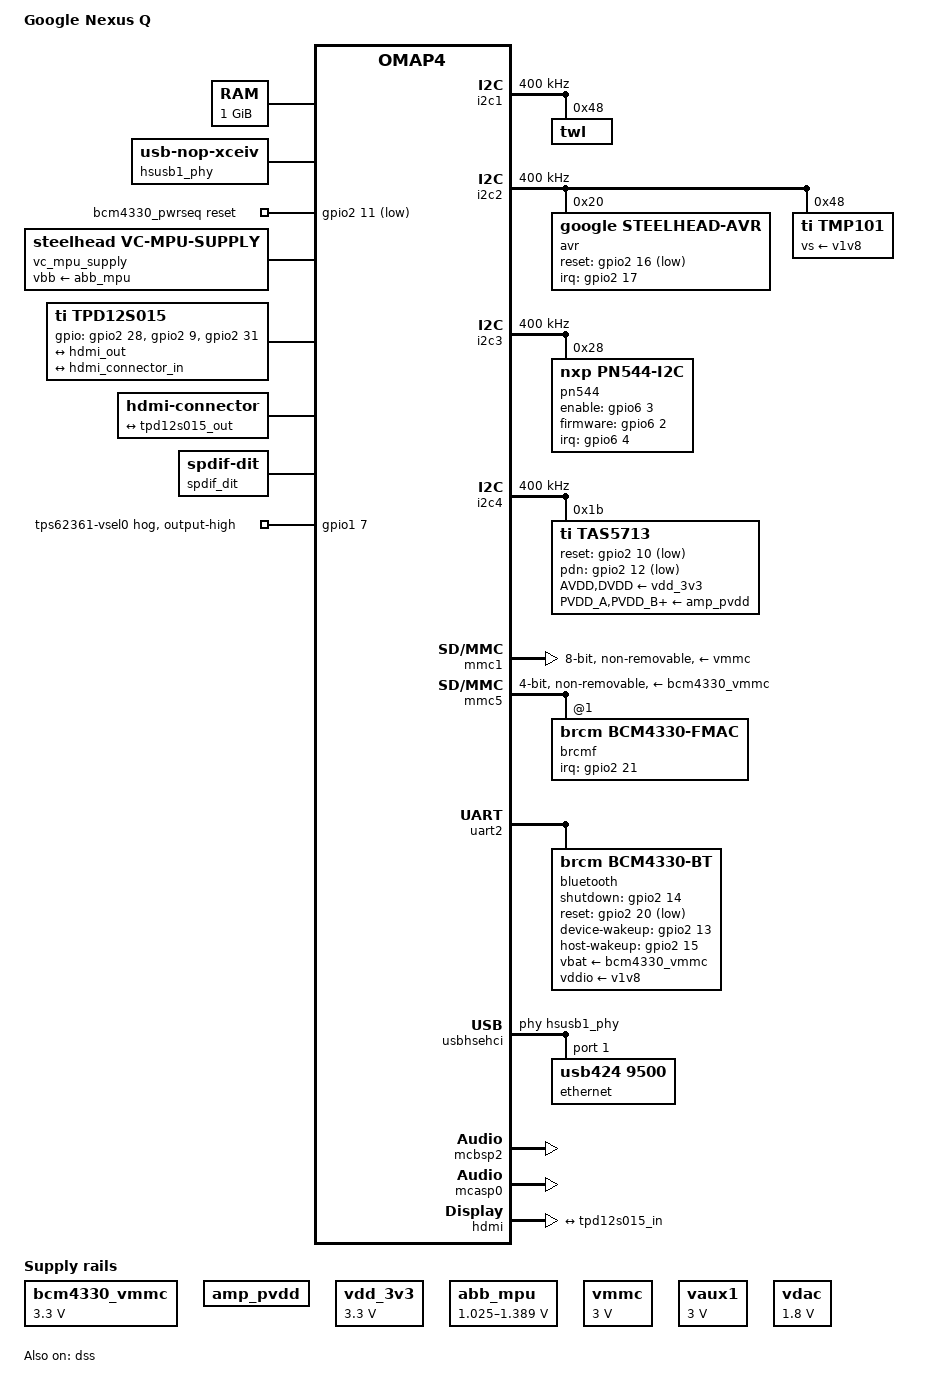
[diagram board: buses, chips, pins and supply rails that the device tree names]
// SPDX-License-Identifier: GPL-2.0-only
/*
 * Device Tree Source for Google Nexus Q (steelhead)
 *
 * Copyright (C) 2024-2025 Nexus Q Reloaded Project
 *
 * Based on omap4-panda-common.dtsi and original board-steelhead.c
 * from the CyanogenMod android_kernel_google_steelhead repository.
 *
 * Hardware:
 *   SoC:       TI OMAP4460 (dual Cortex-A9 @ 1.2 GHz)
 *   RAM:       1 GB LPDDR2 (Elpida ECB240ABACN)
 *   Storage:   16 GB eMMC (Samsung KLMAG4FEJA-A002)
 *   WiFi/BT:   Broadcom BCM4330 (SDIO + UART2)
 *   Audio:     TAS5713 25W amp (I2C4 + McBSP2) + HDMI; no codec (the
 *              TWL6040 is unused/unpopulated on steelhead per the stock kernel)
 *   NFC:       NXP PN544 (I2C3)
 *   Ethernet:  SMSC LAN9500A (USB EHCI)
 *   HDMI:      OMAP4 DSS via TPD12S015A (micro-HDMI)
 *   LEDs:      AVR MCU (I2C2) -> LP5523 drivers (32 RGB LEDs)
 *   PMIC:      TWL6030 + TPS62361
 */

/dts-v1/;

#include <dt-bindings/gpio/gpio.h>
#include <dt-bindings/input/input.h>
#include <dt-bindings/interrupt-controller/irq.h>
#include "omap4460.dtsi"
#include "elpida_ecb240abacn.dtsi"
/* omap4-mcpdm.dtsi deliberately NOT included: it enables the McPDM
 * target-module (0x40132000) with a TWL6040 as its pdmclk provider, but
 * steelhead has no TWL6040 at all (see the sound-card note below), so the
 * ti-sysc ext-opt-clock quirk deferred the module forever ("deferred probe
 * pending: (reason unknown)" every boot). Without the include McPDM stays at
 * its upstream disabled default — correct, since McPDM needs the codec. */

/ {
	model = "Google Nexus Q";
	compatible = "google,steelhead", "ti,omap4460", "ti,omap4";

	memory@80000000 {
		device_type = "memory";
		reg = <0x80000000 0x40000000>; /* 1 GB */
	};

	chosen {
		stdout-path = &uart3;
	};

	aliases {
		ethernet = &ethernet;
	};

	/*
	 * HS USB Host PHY on PORT 1 for Ethernet (SMSC USB3320, ULPI).
	 * Modelled as a bare nop-xceiv: the USB3320 is driven directly through
	 * the OMAP EHCI ULPI viewport, and its 38.4 MHz reference clock
	 * (auxclk3), power enable (gpio_1 NENABLE) and reset (gpio_62 NRESET)
	 * are sequenced imperatively by the steelhead ehci-omap bring-up in the
	 * vendor board order (clk -> enable -> reset), NOT by nop-xceiv /
	 * regulator probe order -- which released reset before the refclk was
	 * stable, so the LAN9500A never enumerated (PORTSC CCS stayed 0). The
	 * power rail (was a regulator-fixed "hsusb1_vbus" on gpio_1) and the
	 * PHY clock/reset are therefore owned by &usbhsehci, see below.
	 */
	hsusb1_phy: hsusb1-phy {
		compatible = "usb-nop-xceiv";
		#phy-cells = <0>;
	};

	/* BCM4330 WiFi power sequencing: 32k LPO + WLAN_EN (gpio_43),
	 * mirrors steelhead_wifi_power() in board-steelhead-wifi.c:
	 * clk32k on -> 300 ms settle -> WLAN_EN high -> 200 ms.
	 *
	 * The 32k source is the TWL6030 CLK32KG output (<&twl 0>, CFG_TRANS
	 * 0x8C). Stock's consumer string "clk32kaudio" is MISLEADING: its
	 * board data wires that name to the CLK32KG regulator (id 48,
	 * steelhead_twldata+0x8c), the real CLK32KAUDIO slot is NULL. Our
	 * earlier <&twl 1> (CLK32KAUDIO, 0x8F) gated the WRONG pin, so the
	 * chip's LPO never ran — prime suspect for the flaky WiFi/BT
	 * (stock-parity audit 2026-07-02, steelhead_wifi_power @ 0xc0077884).
	 * clk-settle-delay-ms is our pwrseq-simple extension (patch 0028). */
	bcm4330_pwrseq: bcm4330-pwrseq {
		compatible = "mmc-pwrseq-simple";
		pinctrl-names = "default";
		pinctrl-0 = <&wlan_en_pins>;
		reset-gpios = <&gpio2 11 GPIO_ACTIVE_LOW>; /* gpio_43 WLAN_EN */
		clk-settle-delay-ms = <300>;
		post-power-on-delay-ms = <200>;
		clocks = <&twl 0>; /* TWL6030 CLK32KG */
		clock-names = "ext_clock";
	};

	/* BCM4330 VBAT 3.3V - static rail, WLAN_EN is handled by pwrseq.
	 * 3.3V matters for SDIO OCR negotiation (card advertises 3.2-3.4V). */
	bcm4330_vmmc: bcm4330-vmmc {
		compatible = "regulator-fixed";
		regulator-name = "vbcm4330";
		regulator-min-microvolt = <3300000>;
		regulator-max-microvolt = <3300000>;
		regulator-always-on;
	};

	/* TAS5713 speaker power rail (PVDD_A..D). Hardwired on the board;
	 * voltage NOT asserted here (unmeasured — TAS5713 spec 8-26 V) since
	 * the tas571x driver only enable()s its supplies. */
	amp_pvdd: amp-pvdd {
		compatible = "regulator-fixed";
		regulator-name = "amp_pvdd";
		regulator-always-on;
		regulator-boot-on;
	};

	/* Board 3.3 V rail for the TAS5713 amp AVDD/DVDD (analog + digital). */
	vdd_3v3: vdd-3v3 {
		compatible = "regulator-fixed";
		regulator-name = "vdd_3v3";
		regulator-min-microvolt = <3300000>;
		regulator-max-microvolt = <3300000>;
		regulator-always-on;
	};

	/*
	 * VDD_MPU cpu-supply for cpufreq. The TPS62361 lives on the write-only PRM
	 * VC SR-i2c (no Linux i2c regulator), so this VC-bridge regulator
	 * (steelhead-vc-mpu-regulator.c) translates regulator_set_voltage() into a
	 * scale on the mpu voltage domain via the OMAP voltage layer (VP force-update),
	 * and engages Forward Body Bias via vbb-supply (abb_mpu) at OPP-Nitro. Range
	 * covers OPP50..OPP-Nitro (1025..1380 mV, 350/700/920/1200 MHz).
	 */
	vc_mpu_supply: regulator-vc-mpu {
		compatible = "steelhead,vc-mpu-supply";
		regulator-name = "vdd_mpu";
		regulator-min-microvolt = <1025000>;
		regulator-max-microvolt = <1380000>;
		regulator-boot-on;
		regulator-always-on;
		vbb-supply = <&abb_mpu>;
	};

	/* HDMI level converter: TPD12S015A */
	tpd12s015: encoder0 {
		compatible = "ti,tpd12s015";

		gpios = <&gpio2 28 GPIO_ACTIVE_HIGH>,	/* gpio_60 CT_CP_HPD */
			<&gpio2 9 GPIO_ACTIVE_HIGH>,	/* gpio_41 LS_OE */
			<&gpio2 31 GPIO_ACTIVE_HIGH>;	/* gpio_63 HPD */

		ports {
			#address-cells = <1>;
			#size-cells = <0>;

			port@0 {
				reg = <0>;
				tpd12s015_in: endpoint {
					remote-endpoint = <&hdmi_out>;
				};
			};

			port@1 {
				reg = <1>;
				tpd12s015_out: endpoint {
					remote-endpoint = <&hdmi_connector_in>;
				};
			};
		};
	};

	hdmi0: connector0 {
		compatible = "hdmi-connector";
		label = "hdmi";
		type = "d"; /* micro-HDMI */

		port {
			hdmi_connector_in: endpoint {
				remote-endpoint = <&tpd12s015_out>;
			};
		};
	};

	/* S/PDIF digital audio output (TOSLINK) */
	spdif_dit: spdif-dit {
		compatible = "linux,spdif-dit";
		#sound-dai-cells = <0>;
	};

	/*
	 * NO TWL6040 codec / ABE sound card on steelhead. The earlier
	 * "dead chip on this unit" verdict (2026-06-10, no I2C ACK on 0x4b)
	 * was wrong in kind: the stock 3.0.8 kernel contains ZERO twl6040 /
	 * AUDPWRON code (whole-image string+symbol sweep), the twldata codec
	 * pdata slot is NULL (steelhead_twldata+0x24), and stock's i2c1 board
	 * info registers only the twl6030@0x48 — the chip is simply not used
	 * (and almost certainly not populated) on this board, so the missing
	 * ACK is the stock-correct behaviour. Audit 2026-07-03, evidence in
	 * docs/2026-07-02-stock-parity-voltage-wifi-idle.md. Audio is the
	 * TAS5713 below + HDMI; there is no headset/aux path by design.
	 */

	/* Speaker amp: McBSP2 I2S -> TAS5713 (25 W class-D) */
	sound_tas5713: sound-tas5713 {
		compatible = "simple-audio-card";
		simple-audio-card,name = "NexusQ-Speaker";
		simple-audio-card,format = "i2s";
		simple-audio-card,mclk-fs = <256>;
		simple-audio-card,bitclock-master = <&tas5713_cpu>;
		simple-audio-card,frame-master = <&tas5713_cpu>;

		tas5713_cpu: simple-audio-card,cpu {
			sound-dai = <&mcbsp2>;
		};

		simple-audio-card,codec {
			sound-dai = <&tas5713>;
		};
	};

	/*
	 * Optical S/PDIF out: OMAP4 McASP in DIT (IEC958) mode -> spdif-dit codec.
	 * In DIT mode the McASP generates its own IEC958 framing, so no i2s
	 * format / bit-/frame-master negotiation is needed (unlike the TAS5713
	 * link above); the link just binds the McASP DIT DAI to the DIT codec.
	 * Mirrors stock's omap-mcasp-dai <-> dit-hifi card ("Steelhead SPDIF Card").
	 */
	sound_spdif: sound-spdif {
		compatible = "simple-audio-card";
		simple-audio-card,name = "NexusQ-SPDIF";
		/*
		 * The McASP in DIT mode generates the IEC958 framing itself, but
		 * simple-audio-card still calls snd_soc_dai_set_fmt() on the cpu DAI.
		 * davinci_mcasp_set_dai_fmt() returns -EINVAL (-22, seen at v1.6.13
		 * probe) when the SND_SOC_DAIFMT_FORMAT field is 0 (its default: case).
		 * Give it a valid format ("i2s") and make the McASP the bit+frame
		 * master — DIT drives its own TX clock from the ABE McASP fck, there is
		 * no external codec clock (spdif-dit is a dummy sink).
		 */
		simple-audio-card,format = "i2s";
		simple-audio-card,bitclock-master = <&spdif_cpu>;
		simple-audio-card,frame-master = <&spdif_cpu>;

		spdif_cpu: simple-audio-card,cpu {
			sound-dai = <&mcasp0>;
		};

		simple-audio-card,codec {
			sound-dai = <&spdif_dit>;
		};
	};
};

&omap4_pmx_core {
	pinctrl-names = "default";
	pinctrl-0 = <
		&dss_hdmi_pins
		&tpd12s015_pins
		&hsusbb1_pins
		&ethernet_gpios
	>;

	i2c1_pins: i2c1-pins {
		pinctrl-single,pins = <
			OMAP4_IOPAD(0x122, PIN_INPUT | MUX_MODE0)	/* i2c1_scl */
			OMAP4_IOPAD(0x124, PIN_INPUT | MUX_MODE0)	/* i2c1_sda */
		>;
	};

	i2c2_pins: i2c2-pins {
		pinctrl-single,pins = <
			OMAP4_IOPAD(0x126, PIN_INPUT | MUX_MODE0)	/* i2c2_scl */
			OMAP4_IOPAD(0x128, PIN_INPUT | MUX_MODE0)	/* i2c2_sda */
		>;
	};

	i2c3_pins: i2c3-pins {
		pinctrl-single,pins = <
			OMAP4_IOPAD(0x12a, PIN_INPUT | MUX_MODE0)	/* i2c3_scl */
			OMAP4_IOPAD(0x12c, PIN_INPUT | MUX_MODE0)	/* i2c3_sda */
		>;
	};

	i2c4_pins: i2c4-pins {
		pinctrl-single,pins = <
			OMAP4_IOPAD(0x12e, PIN_INPUT | MUX_MODE0)	/* i2c4_scl */
			OMAP4_IOPAD(0x130, PIN_INPUT | MUX_MODE0)	/* i2c4_sda */
		>;
	};

	dss_hdmi_pins: dss-hdmi-pins {
		pinctrl-single,pins = <
			OMAP4_IOPAD(0x09a, PIN_INPUT | MUX_MODE0)	/* hdmi_cec */
			/*
			 * DDC (EDID I2C) pads: do NOT force the SoC internal
			 * pull-up. These are open-drain DDC lines; the TPD12S015
			 * companion provides the external pull-ups. Forcing the
			 * weak (~50k) internal PULLUP fights the external pulls
			 * and corrupts SCL/SDA edges -> "HDMICORE timeout reading
			 * edid" (TMDS is a separate pad group, so video still
			 * works). Stock leaves these pads un-muxed (no SW pull).
			 */
			OMAP4_IOPAD(0x09c, PIN_INPUT | MUX_MODE0)	/* hdmi_scl (DDC) */
			OMAP4_IOPAD(0x09e, PIN_INPUT | MUX_MODE0)	/* hdmi_sda (DDC) */
		>;
	};

	tpd12s015_pins: tpd12s015-pins {
		pinctrl-single,pins = <
			OMAP4_IOPAD(0x062, PIN_OUTPUT | MUX_MODE3)		/* gpmc_a17.gpio_41 LS_OE */
			OMAP4_IOPAD(0x088, PIN_OUTPUT | MUX_MODE3)		/* gpmc_nbe1.gpio_60 CT_CP_HPD */
			OMAP4_IOPAD(0x098, PIN_INPUT_PULLDOWN | MUX_MODE3)	/* hdmi_hpd.gpio_63 HPD */
		>;
	};

	hsusbb1_pins: hsusbb1-pins {
		pinctrl-single,pins = <
			OMAP4_IOPAD(0x0c2, PIN_INPUT_PULLDOWN | MUX_MODE4)	/* usbb1_ulpiphy_clk */
			OMAP4_IOPAD(0x0c4, PIN_OUTPUT | MUX_MODE4)		/* usbb1_ulpiphy_stp */
			OMAP4_IOPAD(0x0c6, PIN_INPUT_PULLDOWN | MUX_MODE4)	/* usbb1_ulpiphy_dir */
			OMAP4_IOPAD(0x0c8, PIN_INPUT_PULLDOWN | MUX_MODE4)	/* usbb1_ulpiphy_nxt */
			OMAP4_IOPAD(0x0ca, PIN_INPUT_PULLDOWN | MUX_MODE4)	/* usbb1_ulpiphy_dat0 */
			OMAP4_IOPAD(0x0cc, PIN_INPUT_PULLDOWN | MUX_MODE4)	/* usbb1_ulpiphy_dat1 */
			OMAP4_IOPAD(0x0ce, PIN_INPUT_PULLDOWN | MUX_MODE4)	/* usbb1_ulpiphy_dat2 */
			OMAP4_IOPAD(0x0d0, PIN_INPUT_PULLDOWN | MUX_MODE4)	/* usbb1_ulpiphy_dat3 */
			OMAP4_IOPAD(0x0d2, PIN_INPUT_PULLDOWN | MUX_MODE4)	/* usbb1_ulpiphy_dat4 */
			OMAP4_IOPAD(0x0d4, PIN_INPUT_PULLDOWN | MUX_MODE4)	/* usbb1_ulpiphy_dat5 */
			OMAP4_IOPAD(0x0d6, PIN_INPUT_PULLDOWN | MUX_MODE4)	/* usbb1_ulpiphy_dat6 */
			OMAP4_IOPAD(0x0d8, PIN_INPUT_PULLDOWN | MUX_MODE4)	/* usbb1_ulpiphy_dat7 */
		>;
	};

	ethernet_gpios: ethernet-gpios {
		pinctrl-single,pins = <
			OMAP4_IOPAD(0x08c, PIN_OUTPUT | MUX_MODE3)		/* gpmc_wait0.gpio_62 NRESET */
			/*
			 * THE cold-init fix (2026-07-06): gpio_1 NENABLE, the
			 * LAN9500A power-enable, is pad kpd_col2 @ 0x186 in the
			 * CORE padconf -- NOT the wkup domain as a prior comment
			 * wrongly assumed, which is why it was omitted. Without
			 * this mux gpiolib drove the gpio_1 DATAOUT latch (read
			 * "asserted") but the pad stayed in safe_mode and NENABLE
			 * never reached the chip, so the LAN9500A was never
			 * powered on and never drove D+ (PORTSC CCS=0 forever) on
			 * a cold boot. Stock muxes BOTH pads (omap_mux_init_gpio
			 * 1 and 62 @ VA 0xc00178d0/dc, values 0x0e03). Proven
			 * live: writing this pad (0x4A100184 upper16=0x0e03) +
			 * re-running the bring-up made eth0 attach at 100Mbps
			 * from the cold-failed state. Same pinmux-miss class of
			 * bug as the NFC pads. */
			OMAP4_IOPAD(0x186, PIN_OUTPUT | MUX_MODE3)		/* kpd_col2.gpio_1 NENABLE (LAN9500A power enable) */
			/*
			 * gpio_159 (usbb2_ulpitll_dir 0x164) intentionally NOT
			 * muxed: stock leaves that pad in safe_mode (mux dump
			 * 0x011f) and only pulses gpio_159 in a hub_control resume
			 * recovery path that is a no-op on this board — it is not
			 * wired to the LAN9500A. Driving it was a non-stock guess;
			 * removed 2026-07-06 for parity (the real fix is the 0x186
			 * NENABLE pad above).
			 */
		>;
	};

	wlan_en_pins: wlan-en-pins {
		pinctrl-single,pins = <
			OMAP4_IOPAD(0x066, PIN_OUTPUT | MUX_MODE3)		/* gpmc_a19.gpio_43 WLAN_EN */
		>;
	};

	wlan_sdio_pins: wlan-sdio-pins {
		pinctrl-single,pins = <
			OMAP4_IOPAD(0x07a, PIN_INPUT | MUX_MODE3)		/* gpmc_ncs3.gpio_53 WLAN_IRQ */
			OMAP4_IOPAD(0x148, PIN_INPUT_PULLUP | MUX_MODE0)	/* sdmmc5_clk */
			OMAP4_IOPAD(0x14a, PIN_INPUT_PULLUP | MUX_MODE0)	/* sdmmc5_cmd */
			OMAP4_IOPAD(0x14c, PIN_INPUT_PULLUP | MUX_MODE0)	/* sdmmc5_dat0 */
			OMAP4_IOPAD(0x14e, PIN_INPUT_PULLUP | MUX_MODE0)	/* sdmmc5_dat1 */
			OMAP4_IOPAD(0x150, PIN_INPUT_PULLUP | MUX_MODE0)	/* sdmmc5_dat2 */
			OMAP4_IOPAD(0x152, PIN_INPUT_PULLUP | MUX_MODE0)	/* sdmmc5_dat3 */
		>;
	};

	bt_pins: bt-pins {
		pinctrl-single,pins = <
			OMAP4_IOPAD(0x06c, PIN_OUTPUT | MUX_MODE3)		/* gpmc_a22.gpio_46 BT_EN */
			OMAP4_IOPAD(0x078, PIN_OUTPUT | MUX_MODE3)		/* gpmc_ncs2.gpio_52 BT_RESET */
			OMAP4_IOPAD(0x06a, PIN_OUTPUT | MUX_MODE3)		/* gpmc_a21.gpio_45 BT_WAKE */
			OMAP4_IOPAD(0x06e, PIN_INPUT_PULLDOWN | MUX_MODE3)	/* gpmc_a23.gpio_47 HOST_WAKE */
		>;
	};

	uart2_pins: uart2-pins {
		pinctrl-single,pins = <
			OMAP4_IOPAD(0x118, PIN_INPUT_PULLUP | MUX_MODE0)	/* uart2_cts */
			OMAP4_IOPAD(0x11a, PIN_OUTPUT | MUX_MODE0)		/* uart2_rts */
			OMAP4_IOPAD(0x11c, PIN_INPUT_PULLUP | MUX_MODE0)	/* uart2_rx */
			OMAP4_IOPAD(0x11e, PIN_OUTPUT | MUX_MODE0)		/* uart2_tx */
		>;
	};

	/* NFC pads. THE 2026-07-03 ROOT CAUSE of the "chip never ACKs" saga:
	 * these were 0x1b4/0x1b6/0x1b8 — the dpm_emu3/4/5 debug pads — so the
	 * REAL NFC pads (usbb2_ulpitll_dat1/2/3) stayed in their bootloader
	 * state and VEN/FW/IRQ never reached the chip; the PN544 looked dead
	 * from mainline while being perfectly alive (stock RAM boot: ACK at
	 * 0x28 with VEN high, core-reset frame accepted). Correct offsets +
	 * values read live from the WORKING stock kernel's omap_mux debugfs
	 * (reverse-eng/stock-omap-mux-full.txt): 0x16a/0x16c = 0x0003,
	 * 0x16e = 0x011b. */
	nfc_pins: nfc-pins {
		pinctrl-single,pins = <
			OMAP4_IOPAD(0x16a, PIN_OUTPUT | MUX_MODE3)		/* usbb2_ulpitll_dat1.gpio_162 FW */
			OMAP4_IOPAD(0x16c, PIN_OUTPUT | MUX_MODE3)		/* usbb2_ulpitll_dat2.gpio_163 EN */
			OMAP4_IOPAD(0x16e, PIN_INPUT_PULLUP | MUX_MODE3)	/* usbb2_ulpitll_dat3.gpio_164 IRQ */
		>;
	};

	tas5713_pins: tas5713-pins {
		pinctrl-single,pins = <
			OMAP4_IOPAD(0x060, PIN_OUTPUT | MUX_MODE3)		/* gpmc_a16.gpio_40 IFACE_EN */
			OMAP4_IOPAD(0x064, PIN_OUTPUT | MUX_MODE3)		/* gpmc_a18.gpio_42 RESET */
			OMAP4_IOPAD(0x068, PIN_OUTPUT | MUX_MODE3)		/* gpmc_a20.gpio_44 PDN */
			OMAP4_IOPAD(0x19a, PIN_OUTPUT | MUX_MODE0)		/* fref_clk1_out -> TAS5713 MCLK */
		>;
	};

	/*
	 * McBSP2 I2S pads for the TAS5713 amplifier.
	 * Stock (board-steelhead.c + reverse-eng/stock-omap-mux-full.txt) routes
	 * McBSP2 on the abe_mcbsp2_* ball cluster in MUX_MODE0:
	 *   clkx=0x0f6, dx=0x0fa, fsx=0x0fc   (dr=0x0f8 is unused by the TX-only
	 *   TAS5713 link and is repurposed as the S/PDIF AXR out, see below).
	 * The previous DTS muxed 0x110/0x114/0x116 — but those are the abe_dmic_*
	 * pads, NOT McBSP2. Confirmed 2026-07-07 against the stock mux dump AND a
	 * live pinctrl read: with the old (wrong) mux, 0x0f6/0x0fa/0x0fc sat in
	 * safe_mode, so the McBSP2 I2S clock/data/frame never reached the amp
	 * (aplay returned rc=0 but nothing was actually driven to the speaker).
	 */
	mcbsp2_pins: mcbsp2-pins {
		pinctrl-single,pins = <
			/* McBSP2 is bit/frame master -> clkx/dx/fsx OUTPUT (stock) */
			OMAP4_IOPAD(0x0f6, PIN_OUTPUT | MUX_MODE0)		/* abe_mcbsp2_clkx */
			OMAP4_IOPAD(0x0fa, PIN_OUTPUT | MUX_MODE0)		/* abe_mcbsp2_dx */
			OMAP4_IOPAD(0x0fc, PIN_OUTPUT | MUX_MODE0)		/* abe_mcbsp2_fsx */
		>;
	};

	/*
	 * S/PDIF (optical TOSLINK) output: OMAP4 McASP serializer AXR0 on the
	 * abe_mcbsp2_dr ball in MUX_MODE2 (abe_mcasp_axr). Stock board-steelhead.c
	 * does exactly omap_mux_init_signal("abe_mcbsp2_dr.abe_mcasp_axr", 0) ->
	 * padconf 0x0f8 = 0x0002. This ball is McBSP2's data-RECEIVE line, unused
	 * by the TX-only TAS5713 link, so the speaker and optical paths never clash.
	 */
	mcasp_spdif_pins: mcasp-spdif-pins {
		pinctrl-single,pins = <
			OMAP4_IOPAD(0x0f8, PIN_OUTPUT | MUX_MODE2)		/* abe_mcbsp2_dr.abe_mcasp_axr */
		>;
	};

	avr_pins: avr-pins {
		pinctrl-single,pins = <
			OMAP4_IOPAD(0x070, PIN_OUTPUT | MUX_MODE3)		/* gpmc_a24.gpio_48 RESET */
			OMAP4_IOPAD(0x072, PIN_INPUT_PULLUP | MUX_MODE3)	/* gpmc_a25.gpio_49 INT */
		>;
	};
};

&omap4_pmx_wkup {
	pinctrl-names = "default";
	pinctrl-0 = <&ethernet_wkup_pins &tps62361_vsel_pins>;

	msecure_pins: msecure-pins {
		pinctrl-single,pins = <
			OMAP4_IOPAD(0x050, PIN_OUTPUT | MUX_MODE3)		/* fref_clk0_out.gpio_wk6 */
		>;
	};

	ethernet_wkup_pins: ethernet-wkup-pins {
		pinctrl-single,pins = <
			OMAP4_IOPAD(0x042, PIN_OUTPUT | MUX_MODE3)		/* gpio_wk1 NENABLE */
			OMAP4_IOPAD(0x058, PIN_OUTPUT | MUX_MODE0)		/* fref_clk3_out -> PHY 38.4 MHz */
		>;
	};

	/*
	 * TPS62361 VDD_MPU regulator VSEL0 select line. gpio_wk7 is driven high
	 * (see the &gpio1 hog below) so the chip outputs its SET1 register -- the
	 * register the OMAP Voltage Controller writes VDD_MPU voltages to. Pad,
	 * mux mode and drive level were decoded from the stock kernel (gpio 7,
	 * fref_clk4_req mode 3, gpio_direction_output high).
	 */
	tps62361_vsel_pins: tps62361-vsel-pins {
		pinctrl-single,pins = <
			OMAP4_IOPAD(0x05a, PIN_OUTPUT | MUX_MODE3)		/* fref_clk4_req.gpio_wk7 TPS62361 VSEL0 */
		>;
	};
};

&gpio1 {
	/*
	 * Hold TPS62361 VSEL0 (gpio_wk7) high from boot so VDD_MPU is taken from
	 * the TPS SET1 register. The TPS is dormant (VCORE1 drives VDD_MPU) until
	 * the Stage-1b retasking (omap4460_vdd_mpu_retask) enables it, so driving
	 * this line early is harmless.
	 */
	tps62361_vsel0_hog {
		gpio-hog;
		gpios = <7 GPIO_ACTIVE_HIGH>;
		output-high;
		line-name = "tps62361-vsel0";
	};
};

/* I2C1: TWL6030 PMIC + TWL6040 Audio Codec */
&i2c1 {
	pinctrl-names = "default";
	pinctrl-0 = <&i2c1_pins>;
	clock-frequency = <400000>;

	twl: twl@48 {
		reg = <0x48>;
		interrupts = <GIC_SPI 7 IRQ_TYPE_LEVEL_HIGH>;
		#clock-cells = <1>;
		system-power-controller;
	};

	/* No twl6040@4b node: the codec does not exist on steelhead (see the
	 * sound-card note above; the removed node's ti,audpwron-gpio gpio_127
	 * had no stock evidence either — stock uses hdq_sio for nothing). */
};

#include "twl6030.dtsi"
#include "twl6030_omap4.dtsi"

/* I2C2: AVR front panel controller + TMP101 temperature sensor */
&i2c2 {
	pinctrl-names = "default";
	pinctrl-0 = <&i2c2_pins>;
	clock-frequency = <400000>;

	avr@20 {
		compatible = "google,steelhead-avr";
		reg = <0x20>;
		pinctrl-names = "default";
		pinctrl-0 = <&avr_pins>;
		interrupt-parent = <&gpio2>;
		interrupts = <17 IRQ_TYPE_EDGE_FALLING>; /* gpio_49 */
		reset-gpios = <&gpio2 16 GPIO_ACTIVE_LOW>; /* gpio_48 */
	};

	tmp101@48 {
		compatible = "ti,tmp101";
		reg = <0x48>;
		vs-supply = <&v1v8>;	/* sensor I/O rail = 1.8 V */
	};
};

/* I2C3: NXP PN544 NFC */
&i2c3 {
	pinctrl-names = "default";
	pinctrl-0 = <&i2c3_pins>;
	clock-frequency = <400000>;

	/* RESOLVED 2026-07-03: the chip was never dead — the nfc_pins pinmux
	 * pointed at the dpm_emu debug pads instead of usbb2_ulpitll_dat1/2/3
	 * (see the nfc_pins comment), so VEN/FW/IRQ never reached it. Verified
	 * alive under the stock RAM boot: ACK at 0x28 with VEN high, 6-byte
	 * core-reset frame accepted, silent with VEN low — pins, polarity and
	 * timing all stock-parity MATCH (and patch 0020 keeps the stock VEN
	 * settle). Node re-enabled together with the pad fix. */
	pn544@28 {
		compatible = "nxp,pn544-i2c";
		reg = <0x28>;
		pinctrl-names = "default";
		pinctrl-0 = <&nfc_pins>;
		interrupt-parent = <&gpio6>;
		interrupts = <4 IRQ_TYPE_LEVEL_HIGH>; /* gpio_164 (stock IRQF_TRIGGER_HIGH) */
		enable-gpios = <&gpio6 3 GPIO_ACTIVE_HIGH>; /* gpio_163 */
		firmware-gpios = <&gpio6 2 GPIO_ACTIVE_HIGH>; /* gpio_162 */
	};
};

/* I2C4: TAS5713 25W Class-D amplifier */
&i2c4 {
	pinctrl-names = "default";
	pinctrl-0 = <&i2c4_pins>;
	clock-frequency = <400000>;

	tas5713: tas5713@1b {
		compatible = "ti,tas5713";
		reg = <0x1b>;
		pinctrl-names = "default";
		pinctrl-0 = <&tas5713_pins>;

		reset-gpios = <&gpio2 10 GPIO_ACTIVE_LOW>; /* gpio_42 */
		pdn-gpios = <&gpio2 12 GPIO_ACTIVE_LOW>; /* gpio_44 */

		/* Board 3.3 V analog + digital supplies (the driver only enables
		 * these, never programs a voltage). PVDD_A..D = the speaker power
		 * rail (amp_pvdd below): hardwired-on, exact voltage unmeasured
		 * (TAS5713 spec allows 8-26 V), so the regulator node deliberately
		 * carries no voltage properties — enabling is all the driver does,
		 * and this replaces the four "using dummy regulator" boot warnings
		 * with the real topology. */
		AVDD-supply = <&vdd_3v3>;
		DVDD-supply = <&vdd_3v3>;
		PVDD_A-supply = <&amp_pvdd>;
		PVDD_B-supply = <&amp_pvdd>;
		PVDD_C-supply = <&amp_pvdd>;
		PVDD_D-supply = <&amp_pvdd>;

		/* MCLK 12.288 MHz (256 x 48 kHz) on fref_clk1_out:
		 * dpll_per_m3x2 -> 61.44 MHz, auxclk1 divides by 5
		 * (board-steelhead.c lines 755-810) */
		clocks = <&auxclk1_ck>;
		clock-names = "mclk";
		assigned-clocks = <&dpll_per_m3x2_ck>, <&auxclk1_src_ck>, <&auxclk1_ck>;
		assigned-clock-parents = <0>, <&dpll_per_m3x2_ck>, <0>;
		assigned-clock-rates = <61440000>, <0>, <12288000>;

		#sound-dai-cells = <0>;
	};
};

/* MMC1: eMMC (16 GB Samsung moviNAND), non-removable, 8-bit bus */
&mmc1 {
	vmmc-supply = <&vmmc>;
	bus-width = <8>;
	non-removable;
};

&mmc2 {
	status = "disabled";
};

&mmc3 {
	status = "disabled";
};

&mmc4 {
	status = "disabled";
};

/* MMC5: BCM4330 WiFi (SDIO, brcmfmac driver) */
&mmc5 {
	pinctrl-names = "default";
	pinctrl-0 = <&wlan_sdio_pins>;
	vmmc-supply = <&bcm4330_vmmc>;
	non-removable;
	bus-width = <4>;
	cap-power-off-card;
	mmc-pwrseq = <&bcm4330_pwrseq>;

	#address-cells = <1>;
	#size-cells = <0>;

	brcmf: wifi@1 {
		compatible = "brcm,bcm4330-fmac", "brcm,bcm4329-fmac";
		reg = <1>;
		interrupt-parent = <&gpio2>;
		interrupts = <21 IRQ_TYPE_LEVEL_HIGH>; /* gpio_53 */
		interrupt-names = "host-wake";
		/* Per-device factory WiFi MAC (patch 0043). brcmfmac has no on-device
		 * source for it (nvram is a placeholder; OTP holds a generic Murata
		 * MAC), so pin it here just as the BT node pins local-bd-address. */
		local-mac-address = [f8 8f ca 20 48 e1];
	};
};

&emif1 {
	cs1-used;
	device-handle = <&elpida_ECB240ABACN>;
};

&emif2 {
	cs1-used;
	device-handle = <&elpida_ECB240ABACN>;
};

/* UART2: BCM4330 Bluetooth HCI */
&uart2 {
	pinctrl-names = "default";
	pinctrl-0 = <&uart2_pins>;
	interrupts-extended = <&wakeupgen GIC_SPI 73 IRQ_TYPE_LEVEL_HIGH
			       &omap4_pmx_core OMAP4_UART2_RX>;

	bluetooth {
		compatible = "brcm,bcm4330-bt";
		pinctrl-names = "default";
		pinctrl-0 = <&bt_pins>;
		/* Operating HCI UART baud. WITHOUT this, hci_bcm leaves oper_speed=0
		 * and never syncs the host UART to the rate the BCM4330 firmware runs
		 * at, so host and controller drift apart -> "hci0: Frame reassembly
		 * failed (-84)" (EILSEQ), command tx timeouts, phantom Connected
		 * state, and A2DP audio arriving in corrupt bursts (~1 s sound then
		 * seconds of silence). Stock ran the BT UART at 3 Mbaud (the value
		 * that dominates the stock kernel image); match it so hci_bcm commands
		 * both ends to 3 Mbaud and the link is clean. RTS/CTS are muxed in
		 * uart2_pins. (2026-07-08 crackle/BT-audio investigation.) */
		max-speed = <3000000>;
		shutdown-gpios = <&gpio2 14 GPIO_ACTIVE_HIGH>; /* gpio_46 BT_EN */
		reset-gpios = <&gpio2 20 GPIO_ACTIVE_LOW>; /* gpio_52 BT_RESET */
		device-wakeup-gpios = <&gpio2 13 GPIO_ACTIVE_HIGH>; /* gpio_45 BT_WAKE */
		host-wakeup-gpios = <&gpio2 15 GPIO_ACTIVE_HIGH>; /* gpio_47 HOST_WAKE */
		/* Real per-device BT MAC (stock injected it via the
		 * board_steelhead_bluetooth.btaddr= cmdline). Without it btbcm
		 * leaves the BCM4330B1 .hcd placeholder 43:30:A0:00:00:00, which is
		 * (a) identical on every unit (pairing-record collisions) and (b)
		 * malformed — MSB 0x43 has the multicast/group bit set, an invalid
		 * unicast public address. btbcm issues the vendor Write_BD_ADDR
		 * (0xFC01) from this property. Bytes are DT little-endian of
		 * f8:8f:ca:20:49:e5 (2026-07-06). */
		local-bd-address = [e5 49 20 ca 8f f8];
		/* TWL6030 CLK32KG — same pin as WiFi (stock BT rfkill enables the
		 * identical "clk32kaudio"-named CLK32KG regulator; see the pwrseq
		 * node comment for the naming trap). */
		clocks = <&twl 0>;
		clock-names = "ext_clock";
		vbat-supply = <&bcm4330_vmmc>;	/* BCM4330 VBAT 3.3 V (shared rail) */
		vddio-supply = <&v1v8>;		/* BCM4330 I/O 1.8 V */
	};
};

/* UART3: Debug console (ttyS2 with mainline 8250 driver) */
&uart3 {
	interrupts-extended = <&wakeupgen GIC_SPI 74 IRQ_TYPE_LEVEL_HIGH
			       &omap4_pmx_core OMAP4_UART3_RX>;
};

/* UART4: AVR programming port */
&uart4 {
	interrupts-extended = <&wakeupgen GIC_SPI 70 IRQ_TYPE_LEVEL_HIGH
			       &omap4_pmx_core OMAP4_UART4_RX>;
};

/* USB OTG (Micro-USB service port) */
&usb_otg_hs {
	interface-type = <1>;
	mode = <3>; /* OTG */
	power = <500>;
};

/* USB Host for SMSC LAN9500A Ethernet */
&usbhshost {
	port1-mode = "ehci-phy";
};

&usbhsehci {
	phys = <&hsusb1_phy>;

	/*
	 * Steelhead LAN9500A bring-up resources, sequenced by ehci-omap in the
	 * vendor board order (steelhead_usbhost_init): with the 38.4 MHz PHY
	 * refclk (auxclk3) enabled, drive NENABLE low (power on), settle, then
	 * release NRESET high, before the controller is started. Both gpios are
	 * active-low (raw: NENABLE HIGH=off / LOW=on, NRESET LOW=reset /
	 * HIGH=run); the driver uses logical levels (asserted = enabled / in
	 * reset). Optional in the driver, so a no-op on non-steelhead boards.
	 */
	clocks = <&auxclk3_ck>;
	clock-names = "steelhead-ethernet-phy";
	steelhead-ethernet-enable-gpios = <&gpio1 1 GPIO_ACTIVE_LOW>;	/* gpio_1  NENABLE (pad kpd_col2 0x186, see ethernet_gpios) */
	steelhead-ethernet-reset-gpios = <&gpio2 30 GPIO_ACTIVE_LOW>;	/* gpio_62 NRESET  */
	/* gpio_159 (steelhead-eth-phy-reset) removed 2026-07-06: stock leaves
	 * its pad in safe_mode and it is not wired to the LAN9500A (its only
	 * stock use is a no-op resume-recovery path). Not an ethernet line. */

	#address-cells = <1>;
	#size-cells = <0>;

	ethernet: ethernet@1 {
		compatible = "usb424,9500";
		reg = <1>;
	};
};

/*
 * OMAP4 USBHS muxes ONE external ULPI PHY (port 1) between the EHCI and the
 * OHCI cores. The Nexus Q only uses port 1 for the high-speed LAN9500A on EHCI;
 * the vendor board kernel explicitly held the OHCI suspended (HcControl =
 * OHCI_USB_SUSPEND) at EHCI probe so it never contends for / drives the shared
 * ULPI port. Mainline brings OHCI up as a live HCD on the same PHY (bus 3),
 * which can keep the EHCI from seeing a downstream connect. Disable it.
 */
&usbhsohci {
	status = "disabled";
};

/* McBSP2: I2S output to TAS5713 amplifier.
 * Internal (PRCM) functional clock must come from the ABE DPLL
 * (abe_24m_fclk, 24.576 MHz = 512 x 48 kHz) so the SRG can derive
 * integer bit-clock dividers -- board-steelhead.c did the same. */
&mcbsp2 {
	pinctrl-names = "default";
	pinctrl-0 = <&mcbsp2_pins>;
	/*
	 * McBSP2 functional clock tree (ABE clkctrl @ 0x30):
	 *   bit 26 = func_mcbsp2_gfclk sync mux  -> abe_24m_fclk (24.576 MHz)
	 *   bit 24 = func_mcbsp2_gfclk           -> bit 26 (its sync mux)
	 *
	 * The previous DTS tried to reparent bit 24 directly to abe_24m_fclk,
	 * but abe_24m_fclk is NOT a legal parent of bit 24 (its only parents are
	 * "abe-clkctrl:0030:26", "pad_clks_ck", "slimbus_clk" -- see
	 * drivers/clk/ti/clk-44xx.c omap4_func_mcbsp2_gfclk_parents[]). That
	 * produced the boot error:
	 *   clk: failed to reparent abe-clkctrl:0030:24 to abe_24m_fclk: -22
	 * The internal SRG already runs at 24.576 MHz via the bit-26 default;
	 * we now set the parents explicitly so the intent is unambiguous and the
	 * invalid -EINVAL reparent is gone.
	 *
	 * DPLL_ABE reference (CM_ABE_PLL_REF_CLKSEL): mainline clk-44xx.c
	 * reparents it to sys_32k for deep-idle PM -- states steelhead never
	 * enters (C1-only, see patch 0024). The stock x-loader and bootloader
	 * lock DPLL_ABE from sys_clkin (38.4 MHz, M=64/N=24 = exactly
	 * 98.304 MHz) and the stock kernel leaves it alone. With the mainline
	 * 32k reference the McBSP2 bit/frame clocks (DPLL_ABE, 32.768 kHz
	 * watch crystal) and the TAS5713 MCLK (DPLL_PER, 38.4 MHz system
	 * crystal) free-run against each other and beat at the crystals'
	 * relative ppm offset: the amp slips one sample per ~1 s -- a
	 * metronomic, load-independent playback click. Reparent the ABE DPLL
	 * back to sys_clkin (= stock topology, single reference crystal for
	 * the whole audio path) and relock at 98.304 MHz. assigned-clock
	 * parents are applied before rates, so the relock uses the new
	 * reference.
	 */
	assigned-clocks = <&abe_dpll_refclk_mux_ck>,
			  <&dpll_abe_ck>,
			  <&abe_clkctrl OMAP4_MCBSP2_CLKCTRL 26>,
			  <&abe_clkctrl OMAP4_MCBSP2_CLKCTRL 24>;
	assigned-clock-parents = <&sys_clkin_ck>,
				 <0>,
				 <&abe_24m_fclk>,
				 <&abe_clkctrl OMAP4_MCBSP2_CLKCTRL 26>;
	assigned-clock-rates = <0>, <98304000>, <0>, <0>;
	#sound-dai-cells = <0>;
	status = "okay";
};

/*
 * OMAP4 McASP -> optical S/PDIF (TOSLINK). The mcasp0 node itself
 * (ti,omap4-mcasp-audio: target-module @ 0x40128000 + L3 data port, op-mode=<1>
 * DIT/IEC958, serial-dir=<1> = serializer 0 = TX, dmas <&sdma 8>, ABE McASP
 * fck) already lives in omap4-l4-abe.dtsi, disabled. steelhead just enables it
 * and adds the AXR0 output pinmux. No ABE DSP firmware needed — davinci-mcasp
 * drives the McASP registers directly (stock parity: stock disabled the ABE L3
 * IRQ and did the same). Codec + card: spdif_dit + sound_spdif above.
 */
&mcasp0 {
	pinctrl-names = "default";
	pinctrl-0 = <&mcasp_spdif_pins>;
	#sound-dai-cells = <0>;
	status = "okay";
};

&twl_usb_comparator {
	usb-supply = <&vusb>;
};

/* HDMI output */
&dss {
	status = "okay";
	vdda_video-supply = <&vcxio>;	/* DSS DPLL analog rail = VCXIO 1.8 V (stock) */
};

&hdmi {
	status = "okay";
	vdda-supply = <&vdac>;

	port {
		hdmi_out: endpoint {
			remote-endpoint = <&tpd12s015_in>;
		};
	};
};

/*
 * MPU cpufreq: cpu-supply = the VC-bridge regulator (drives the TPS62361 via the
 * Voltage Controller, VP force-update). OPP table = OPP50/100/Turbo/Nitro
 * (350 / 700 / 920 / 1200 MHz); the cpu-supply scales VDD_MPU 1025..1380 mV with
 * the frequency (stock-measured nominals; voltdm_scale snaps to the opp4xxx
 * table). At OPP-Nitro the cpu-supply also engages Forward Body Bias via abb_mpu
 * (required for stable 1.2 GHz).
 */
&cpu0 {
	cpu-supply = <&vc_mpu_supply>;
	operating-points = <
		/* kHz     uV */
		350000  1025000
		700000  1203000
		920000  1317000
		1200000 1380000
	>;
};

/*
 * Let the abb_mpu (ti,abb-v2) regulator be set across its ti,abb_info range so the
 * VC-bridge cpu-supply can select Forward Body Bias (1375000) at OPP-Nitro and
 * bypass (1025000) below. The node itself comes from omap4460.dtsi; it has no
 * min/max constraints there, which would otherwise block regulator_set_voltage().
 */
&abb_mpu {
	regulator-min-microvolt = <1025000>;
	regulator-max-microvolt = <1389000>;
};

/* TWL6030 regulator overrides for steelhead */
&vmmc {
	regulator-min-microvolt = <3000000>;
	regulator-max-microvolt = <3000000>;
};

&vaux1 {
	regulator-min-microvolt = <3000000>;
	regulator-max-microvolt = <3000000>;
	regulator-always-on;
};

&vcxio {
	regulator-always-on;
};

&vdac {
	regulator-min-microvolt = <1800000>;
	regulator-max-microvolt = <1800000>;
};

&vana {
	regulator-always-on;
};

&v2v1 {
	regulator-always-on;
};

/*
 * Disable genuinely-unused OMAP4 interconnect target-modules that otherwise
 * print failed-probe noise during boot (see docs/2026-06-19-boot-warnings-followup.md).
 *
 * Hardware RNG (0x48091fe0 / rng_target): lives in the l4_secure clock domain.
 * On this U-Boot-booted GP-style flow the secure clkctrl fck is not exposed, so
 * ti-sysc fails with "clock get error for fck: -2" (-ENOENT). The Nexus Q does
 * not use the on-chip hwrng -> disable it to silence the probe failure.
 */
&rng_target {
	status = "disabled";
};

/*
 * HDQ / 1-wire (0x480b2000): battery/EEPROM 1-wire master. The Nexus Q has no
 * HDQ/1-wire device wired, the module is left unclocked, and ti-sysc reports
 * "OCP softreset timed out" when it tries to reset it. Disable it.
 * (Node has no label upstream, so reference it by full path.)
 */
&{/ocp/interconnect@48000000/segment@0/target-module@b2000} {
	status = "disabled";
};

/*
 * GPTIMER1 (timer1_target, 4a318000) is the always-on system clockevent
 * ("TI gptimer clockevent: always-on 32768 Hz ..."), owned by the timer core.
 * ti-sysc must keep its hands off it, and it MUST NOT be disabled here (that
 * would break timekeeping). Upstream ti-sysc signalled that hands-off with
 * -EBUSY, which the driver core logged as a boot error; patch 0019 turns it
 * into a silent -ENODEV ("rejects match"). The timer keeps its
 * ti,no-reset-on-init / ti,no-idle quirks from omap4.dtsi -- no DTS change.
 */

/*
 * B2: second core. The shared omap4.dtsi declares cpu@0 and cpu@1. cpu@1 is
 * kept (no longer deleted) now that the kernel is built SMP (CONFIG_SMP=y /
 * NR_CPUS=2) for OMAP4460 CPU1 bring-up. Without this node arm_dt_init_cpu_maps
 * caps the kernel to 1 core and CPU1 never gets a logical id. The OMAP4 machine
 * descriptor wires omap4_smp_ops, so no explicit cpu enable-method is needed
 * (HS secure-SMC release path; stock service IDs already match mainline).
 */

/*
 * PMU (dual Cortex-A9 performance monitors). The two per-CPU PMU SPIs (54,55)
 * map to cpu0/cpu1; declaring interrupt-affinity makes that explicit and
 * silences the arm_pmu "no interrupt-affinity property, guessing" boot warning.
 * cpu@1 has no label upstream, so reference it by path.
 */
&pmu {
	interrupt-affinity = <&cpu0>, <&{/cpus/cpu@1}>;
};

/*
 * GPMC (general-purpose memory controller): the Nexus Q has no GPMC memory
 * device (no NAND/NOR; every gpmc_* name in this DTS is a pad muxed to GPIO,
 * which does not need the controller). Left enabled, gpmc_mem_init finds the
 * ROM's stale CS0 mapping at 0x0 and logs "disabling cs 0 mapped at
 * 0x0-0x1000000". Nothing consumes &gpmc, so disable it.
 */
&gpmc {
	status = "disabled";
};
